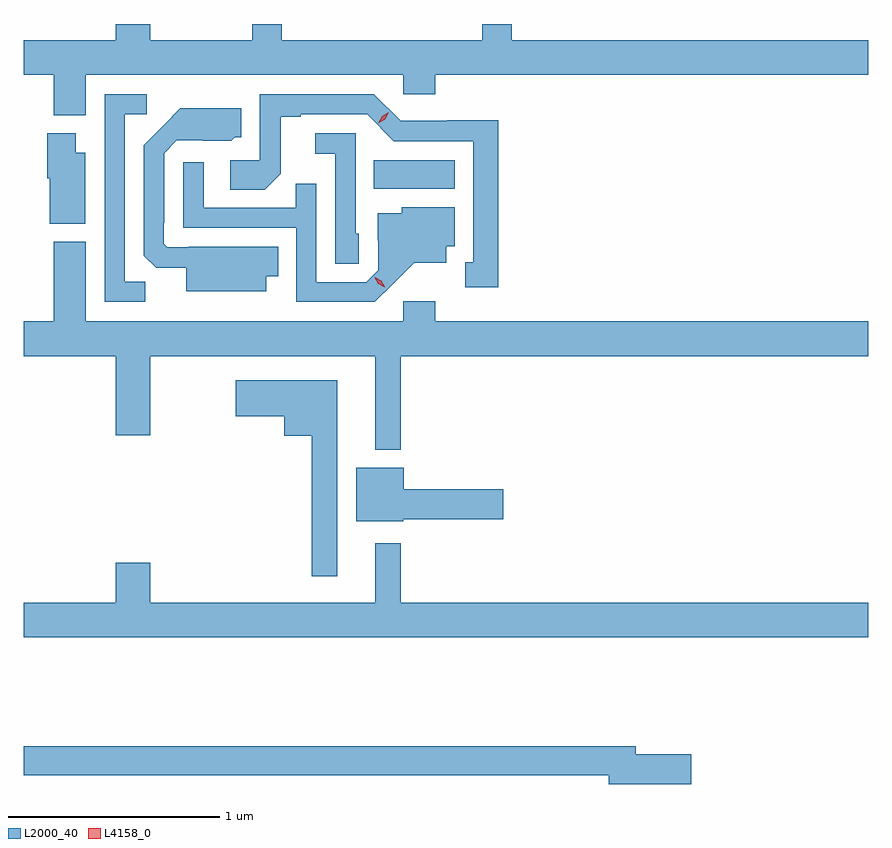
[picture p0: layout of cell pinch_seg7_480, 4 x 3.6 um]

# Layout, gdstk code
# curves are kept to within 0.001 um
import gdstk
lib = gdstk.Library(unit=1e-6, precision=1e-09)
def R(c, l, rs):  # rectangles x0, y0, x1, y1
    for r in rs: c.add(gdstk.rectangle(r[:2], r[2:], *l))
def P(c, l, *ps):  # polygons
    for p in ps: c.add(gdstk.Polygon(p, *l))
L2000_40 = (2000, 40)
L4158_0 = (4158, 0)

pinch_seg7_480 = lib.new_cell('pinch_seg7_480')
R(pinch_seg7_480, L2000_40, [(226.168,1066.676,226.552,1066.81)])
P(pinch_seg7_480, L2000_40, [(224.806,1067.216),(226.308,1067.216),(226.308,1067.123),(226.46,1067.123),(226.46,1067.216),(228.511,1067.216),(228.511,1067.38),(226.822,1067.38),(226.822,1067.456),(226.683,1067.456),(226.683,1067.38),(225.733,1067.38),(225.733,1067.456),(225.593,1067.456),(225.593,1067.38),(225.112,1067.38),(225.112,1067.456),(224.948,1067.456),(224.948,1067.38),(224.511,1067.38),(224.511,1067.216),(224.654,1067.216),(224.654,1067.024),(224.806,1067.024)],
  [(226.759,1067),(226.518,1067),(226.518,1066.998),(226.296,1066.998),(226.17,1067.124),(225.63,1067.124),(225.63,1066.812),(225.489,1066.812),(225.489,1066.672),(225.653,1066.672),(225.729,1066.748),(225.729,1067.016),(225.823,1067.016),(225.823,1067.028),(226.137,1067.028),(226.263,1066.902),(226.64,1066.902),(226.64,1066.329),(226.601,1066.329),(226.601,1066.209),(226.759,1066.209)],
  [(225.087,1066.235),(224.991,1066.235),(224.991,1067.028),(225.094,1067.028),(225.094,1067.124),(224.895,1067.124),(224.895,1066.14),(225.087,1066.14)],
  [(225.661,1066.262),(225.716,1066.262),(225.716,1066.402),(225.292,1066.402),(225.292,1066.398),(225.192,1066.398),(225.174,1066.416),(225.174,1066.516),(225.177,1066.516),(225.177,1066.845),(225.237,1066.905),(225.494,1066.904),(225.51,1066.92),(225.541,1066.92),(225.541,1067.056),(225.253,1067.056),(225.081,1066.882),(225.081,1066.36),(225.14,1066.301),(225.281,1066.301),(225.281,1066.19),(225.661,1066.19)],
  [(224.803,1066.846),(224.758,1066.846),(224.758,1066.939),(224.624,1066.939),(224.624,1066.725),(224.636,1066.725),(224.636,1066.511),(224.803,1066.511)],
  [(226.098,1066.464),(226.083,1066.464),(226.083,1066.938),(225.891,1066.938),(225.891,1066.841),(225.987,1066.841),(225.987,1066.321),(226.098,1066.321)],
  [(226.258,1066.223),(226.361,1066.325),(226.513,1066.325),(226.513,1066.404),(226.552,1066.404),(226.552,1066.588),(226.302,1066.588),(226.302,1066.561),(226.187,1066.561),(226.187,1066.432),(226.191,1066.432),(226.191,1066.29),(226.134,1066.233),(225.897,1066.233),(225.897,1066.7),(225.799,1066.7),(225.799,1066.587),(225.363,1066.587),(225.363,1066.801),(225.267,1066.801),(225.267,1066.491),(225.801,1066.491),(225.801,1066.14),(226.174,1066.14)],
  [(226.297,1065.884),(228.511,1065.884),(228.511,1066.048),(226.46,1066.048),(226.46,1066.144),(226.308,1066.144),(226.308,1066.048),(224.806,1066.048),(224.806,1066.426),(224.654,1066.426),(224.654,1066.048),(224.511,1066.048),(224.511,1065.884),(224.948,1065.884),(224.948,1065.51),(225.112,1065.51),(225.112,1065.884),(226.175,1065.884),(226.175,1065.44),(226.297,1065.44)],
  [(225.997,1065.769),(225.516,1065.769),(225.516,1065.599),(225.746,1065.599),(225.746,1065.506),(225.876,1065.506),(225.876,1064.841),(225.997,1064.841)],
  [(226.308,1065.112),(226.783,1065.112),(226.783,1065.254),(226.312,1065.254),(226.312,1065.355),(226.085,1065.355),(226.085,1065.101),(226.308,1065.101)],
  [(228.511,1064.716),(226.297,1064.716),(226.297,1064.998),(226.175,1064.998),(226.175,1064.716),(225.112,1064.716),(225.112,1064.905),(224.948,1064.905),(224.948,1064.716),(224.511,1064.716),(224.511,1064.552),(228.511,1064.552)],
  [(227.671,1064),(227.41,1064),(227.41,1064.036),(224.511,1064.036),(224.511,1063.9),(227.282,1063.9),(227.282,1063.858),(227.671,1063.858)])
P(pinch_seg7_480, L4158_0, [(226.191,1066.987),(226.191,1066.987),(226.209,1067.02),(226.24,1067.039),(226.241,1067.039),(226.241,1067.039),(226.223,1067.006),(226.191,1066.987)],
  [(226.221,1066.21),(226.191,1066.226),(226.173,1066.255),(226.173,1066.256),(226.174,1066.256),(226.204,1066.24),(226.222,1066.211),(226.222,1066.21)])

lib.write_gds('pinch_seg7_480.gds')
